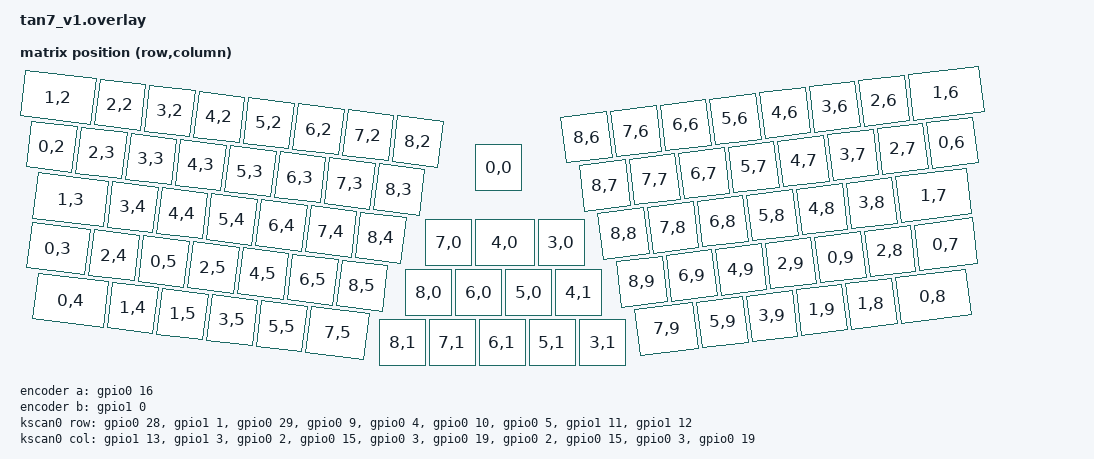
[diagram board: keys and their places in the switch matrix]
#include <zephyr/dt-bindings/dt-util.h>
#include <zephyr/dt-bindings/adc/adc.h>

#include <dt-bindings/zmk/matrix_transform.h>
#include <physical_layouts.dtsi>

#include <dt-bindings/led/led.h> 

&xiao_serial { status = "disabled"; };




/ {
    chosen {
        zmk,kscan = &kscan0;
        zmk,matrix-transform = &matrix_transform0;
        zmk,physical-layout = &physical_layout0;
        zmk,underglow = &led_strip;  // 1. LED制御の対象（アンダーグロー）として登録
        zmk,sensors = <&encoder>;
    };

    // LED電源制御。エンコーダーで使うP1.00をダミーピンとして共有
    ext-power {
        compatible = "zmk,ext-power-generic";
        control-gpios = <&gpio1 7 GPIO_ACTIVE_HIGH>; 
    };

    sensors: sensors {
        compatible = "zmk,keymap-sensors";
        sensors = <&encoder>;
        triggers-per-rotation = <24>; //通常のEC11であれば「24」にするのがおすすめです
    };

    encoder: encoder {
        compatible = "alps,ec11";
        a-gpios = <&gpio0 16 (GPIO_ACTIVE_LOW | GPIO_PULL_UP)>; // P0.16 (内蔵プルアップON)
        b-gpios = <&gpio1  0 (GPIO_ACTIVE_LOW | GPIO_PULL_UP)>; // P1.00 (内蔵プルアップON)
        steps = <80>; // 1クリックで1回しっかり反応させるためのZMK推奨値（通常の15〜24クリック用）
    };

    kscan0: kscan {
        compatible = "zmk,kscan-gpio-matrix";
        diode-direction = "col2row";
        row-gpios
            = <&gpio0 28 (GPIO_ACTIVE_HIGH | GPIO_PULL_DOWN)>   //R0	ROW1 	D2    P0.28
            , <&gpio1  1 (GPIO_ACTIVE_HIGH | GPIO_PULL_DOWN)>   //R1	ROW2 	D13   P1.01
            , <&gpio0 29 (GPIO_ACTIVE_HIGH | GPIO_PULL_DOWN)>   //R2	ROW3 	D3    P0.29
            , <&gpio0  9 (GPIO_ACTIVE_HIGH | GPIO_PULL_DOWN)>   //R3	ROW4 	D14   P0.09
            , <&gpio0  4 (GPIO_ACTIVE_HIGH | GPIO_PULL_DOWN)>   //R4	ROW5 	D4    P0.04
            , <&gpio0 10 (GPIO_ACTIVE_HIGH | GPIO_PULL_DOWN)>   //R5	ROW6 	D15   P0.10
            , <&gpio0  5 (GPIO_ACTIVE_HIGH | GPIO_PULL_DOWN)>   //R6	ROW7 	D5    P0.05
            , <&gpio1 11 (GPIO_ACTIVE_HIGH | GPIO_PULL_DOWN)>   //R7	ROW8 	D6    P1.11
            , <&gpio1 12 (GPIO_ACTIVE_HIGH | GPIO_PULL_DOWN)>   //R9	ROW9 	D7    P1.12
            ;

        col-gpios
            = <&gpio1 13 GPIO_ACTIVE_HIGH>  //L0	COL_C1	D8    P1.13
            , <&gpio1  3 GPIO_ACTIVE_HIGH>  //L1	COL_C2	D17   P1.03
            , <&gpio0  2 GPIO_ACTIVE_HIGH>  //L2	COL_L1	D0    P0.02
            , <&gpio0 15 GPIO_ACTIVE_HIGH>  //L3	COL_L2	D11   P0.15
            , <&gpio0  3 GPIO_ACTIVE_HIGH>  //L4	COL_L3	D1    P0.03
            , <&gpio0 19 GPIO_ACTIVE_HIGH>  //L5	COL_L4	D12   P0.19
            , <&gpio0  2 GPIO_ACTIVE_HIGH>  //L6	COL_R1	D10   P1.15
            , <&gpio0 15 GPIO_ACTIVE_HIGH>  //L7	COL_R2	D19   P1.07
            , <&gpio0  3 GPIO_ACTIVE_HIGH>  //L8	COL_R3	D9    P1.14
            , <&gpio0 19 GPIO_ACTIVE_HIGH>  //L9	COL_R4	D18   P1.05
            ;
    };

    matrix_transform0: matrix_transform_0 {
        compatible = "zmk,matrix-transform";
        columns = <10>;
        rows = <9>;      
        // |  0 |  1 |  2 |  3 |  4 |  5 |  6 |  7 |           |  8 |         | |  9 | 10 | 11 | 12 | 13 | 14 | 15 | 16 | 
        // | 17 | 18 | 19 | 20 | 21 | 22 | 23 | 24 |                          | | 25 | 26 | 27 | 28 | 29 | 30 | 31 | 32 |
        //      | 33 | 34 | 35 | 36 | 37 | 38 | 39 |      | 40 | 41 | 42 |    | | 43 | 44 | 45 | 46 | 47 | 48 | 49 |
        //      | 50 | 51 | 52 | 53 | 54 | 55 | 56 | | 57 | 58 |    | 59 | 60 | | 61 | 62 | 63 | 64 | 65 | 66 | 67 |
        //           | 68 | 69 | 70 | 71 | 72 | 73 | | 74 | 75 | 76 | 77 | 78 | | 79 | 80 | 81 | 82 | 83 | 84 |
        map = <
            RC(1,2) RC(2,2) RC(3,2) RC(4,2) RC(5,2) RC(6,2) RC(7,2) RC(8,2)                 RC(0,0)                 RC(8,6) RC(7,6) RC(6,6) RC(5,6) RC(4,6) RC(3,6) RC(2,6) RC(1,6) 
            RC(0,2) RC(2,3) RC(3,3) RC(4,3) RC(5,3) RC(6,3) RC(7,3) RC(8,3)                                         RC(8,7) RC(7,7) RC(6,7) RC(5,7) RC(4,7) RC(3,7) RC(2,7) RC(0,6) 
                    RC(1,3) RC(3,4) RC(4,4) RC(5,4) RC(6,4) RC(7,4) RC(8,4)         RC(7,0) RC(4,0) RC(3,0)         RC(8,8) RC(7,8) RC(6,8) RC(5,8) RC(4,8) RC(3,8) RC(1,7)
                    RC(0,3) RC(2,4) RC(0,5) RC(2,5) RC(4,5) RC(6,5) RC(8,5) RC(8,0) RC(6,0)         RC(5,0) RC(4,1) RC(8,9) RC(6,9) RC(4,9) RC(2,9) RC(0,9) RC(2,8) RC(0,7) 
                            RC(0,4) RC(1,4) RC(1,5) RC(3,5) RC(5,5) RC(7,5) RC(8,1) RC(7,1) RC(6,1) RC(5,1) RC(3,1) RC(7,9) RC(5,9) RC(3,9) RC(1,9) RC(1,8) RC(0,8)
        >;
    };

    physical_layout0: physical_layout_0 {
        compatible = "zmk,physical-layout";
        display-name = "Default Layout";
        transform = <&matrix_transform0>;
        kscan = <&kscan0>;

        keys  //                     w   h    x    y     rot    rx    ry
            = <&key_physical_attrs 150 100    0    0     700     0     0>
            , <&key_physical_attrs 100 100  150    0     700     0     0>
            , <&key_physical_attrs 100 100  250    0     700     0     0>
            , <&key_physical_attrs 100 100  350    0     700     0     0>
            , <&key_physical_attrs 100 100  450    0     700     0     0>
            , <&key_physical_attrs 100 100  550    0     700     0     0>
            , <&key_physical_attrs 100 100  650    0     700     0     0>
            , <&key_physical_attrs 100 100  750    0     700     0     0>
            , <&key_physical_attrs 100 100  900  150       0     0     0>
            , <&key_physical_attrs 100 100 1050  225  (-700)     0     0>
            , <&key_physical_attrs 100 100 1150  225  (-700)     0     0>
            , <&key_physical_attrs 100 100 1250  225  (-700)     0     0>
            , <&key_physical_attrs 100 100 1350  225  (-700)     0     0>
            , <&key_physical_attrs 100 100 1450  225  (-700)     0     0>
            , <&key_physical_attrs 100 100 1550  225  (-700)     0     0>
            , <&key_physical_attrs 100 100 1650  225  (-700)     0     0>
            , <&key_physical_attrs 150 100 1750  225  (-700)     0     0>
            , <&key_physical_attrs 100 100   25  100     700     0     0>
            , <&key_physical_attrs 100 100  125  100     700     0     0>
            , <&key_physical_attrs 100 100  225  100     700     0     0>
            , <&key_physical_attrs 100 100  325  100     700     0     0>
            , <&key_physical_attrs 100 100  425  100     700     0     0>
            , <&key_physical_attrs 100 100  525  100     700     0     0>
            , <&key_physical_attrs 100 100  625  100     700     0     0>
            , <&key_physical_attrs 100 100  725  100     700     0     0>
            , <&key_physical_attrs 100 100 1075  325  (-700)     0     0>
            , <&key_physical_attrs 100 100 1175  325  (-700)     0     0>
            , <&key_physical_attrs 100 100 1275  325  (-700)     0     0>
            , <&key_physical_attrs 100 100 1375  325  (-700)     0     0>
            , <&key_physical_attrs 100 100 1475  325  (-700)     0     0>
            , <&key_physical_attrs 100 100 1575  325  (-700)     0     0>
            , <&key_physical_attrs 100 100 1675  325  (-700)     0     0>
            , <&key_physical_attrs 100 100 1775  325  (-700)     0     0>
            , <&key_physical_attrs 150 100   50  200     700     0     0>
            , <&key_physical_attrs 100 100  200  200     700     0     0>
            , <&key_physical_attrs 100 100  300  200     700     0     0>
            , <&key_physical_attrs 100 100  400  200     700     0     0>
            , <&key_physical_attrs 100 100  500  200     700     0     0>
            , <&key_physical_attrs 100 100  600  200     700     0     0>
            , <&key_physical_attrs 100 100  700  200     700     0     0>
            , <&key_physical_attrs 100 100  800  300       0     0     0>
            , <&key_physical_attrs 125 100  900  300       0     0     0>
            , <&key_physical_attrs 100 100 1025  300       0     0     0>
            , <&key_physical_attrs 100 100 1100  425  (-700)     0     0>
            , <&key_physical_attrs 100 100 1200  425  (-700)     0     0>
            , <&key_physical_attrs 100 100 1300  425  (-700)     0     0>
            , <&key_physical_attrs 100 100 1400  425  (-700)     0     0>
            , <&key_physical_attrs 100 100 1500  425  (-700)     0     0>
            , <&key_physical_attrs 100 100 1600  425  (-700)     0     0>
            , <&key_physical_attrs 150 100 1700  425  (-700)     0     0>
            , <&key_physical_attrs 125 100   50  300     700     0     0>
            , <&key_physical_attrs 100 100  175  300     700     0     0>
            , <&key_physical_attrs 100 100  275  300     700     0     0>
            , <&key_physical_attrs 100 100  375  300     700     0     0>
            , <&key_physical_attrs 100 100  475  300     700     0     0>
            , <&key_physical_attrs 100 100  575  300     700     0     0>
            , <&key_physical_attrs 100 100  675  300     700     0     0>
            , <&key_physical_attrs 100 100  760  400       0     0     0>
            , <&key_physical_attrs 100 100  860  400       0     0     0>
            , <&key_physical_attrs 100 100  960  400       0     0     0>
            , <&key_physical_attrs 100 100 1060  400       0     0     0>
            , <&key_physical_attrs 100 100 1125  525  (-700)     0     0>
            , <&key_physical_attrs 100 100 1225  525  (-700)     0     0>
            , <&key_physical_attrs 100 100 1325  525  (-700)     0     0>
            , <&key_physical_attrs 100 100 1425  525  (-700)     0     0>
            , <&key_physical_attrs 100 100 1525  525  (-700)     0     0>
            , <&key_physical_attrs 100 100 1625  525  (-700)     0     0>
            , <&key_physical_attrs 125 100 1725  525  (-700)     0     0>
            , <&key_physical_attrs 150 100   75  400     700     0     0>
            , <&key_physical_attrs 100 100  225  400     700     0     0>
            , <&key_physical_attrs 100 100  325  400     700     0     0>
            , <&key_physical_attrs 100 100  425  400     700     0     0>
            , <&key_physical_attrs 100 100  525  400     700     0     0>
            , <&key_physical_attrs 125 100  625  400     700     0     0>
            , <&key_physical_attrs 100 100  708  500       0     0     0>
            , <&key_physical_attrs 100 100  807  500       0     0     0>
            , <&key_physical_attrs 100 100  907  500       0     0     0>
            , <&key_physical_attrs 100 100 1007  500       0     0     0>
            , <&key_physical_attrs 100 100 1108  500       0     0     0>
            , <&key_physical_attrs 125 100 1150  625  (-700)     0     0>
            , <&key_physical_attrs 100 100 1275  625  (-700)     0     0>
            , <&key_physical_attrs 100 100 1375  625  (-700)     0     0>
            , <&key_physical_attrs 100 100 1475  625  (-700)     0     0>
            , <&key_physical_attrs 100 100 1575  625  (-700)     0     0>
            , <&key_physical_attrs 150 100 1675  625  (-700)     0     0>
            ;

        underglow-logical-layout {
            compatible = "zmk,underglow-logical-layout";
            
            // keys = <...> の並び順（40番から順番）に対して、何番目のLED（インデックス）かを対応させます
            // 40番のキー ＝ インデックス2（3番目のLED）
            // 41番のキー ＝ インデックス1（2番目のLED）
            // 42番のキー ＝ インデックス0（1番目のLED）
            // 57番〜60番 ＝ インデックス3, 4, 5, 6
            // (ここで 7, 8 番目のアンダーグローLEDをスキップ！)
            // 74番〜78番 ＝ インデックス13, 12, 11, 10, 9（逆順配線に対応）
            
            led-indices = <
                84  84  84  84  84  84  84  84          84           84  84  84  84  84  84  84  84  
                84  84  84  84  84  84  84  84                       84  84  84  84  84  84  84  84 
                    84  84  84  84  84  84  84       2   1   0       84  84  84  84  84  84  84
                    84  84  84  84  84  84  84   3   4       5   6   84  84  84  84  84  84  84
                        84  84  84  84  84  84  11  10   9   8   7   84  84  84  84  84  84
            >;
        };
    };

    //gpio_ledsの定義
    //ライブラリが探せるように「ニックネーム（エイリアス）」を登録します
    aliases {
        led-red = &led_red_node;
        led-green = &led_green_node;
        led-blue = &led_blue_node;
    };

    //XIAOのLEDピンの定義本体です（名前をエイリアスと紐付けました）
    leds {
        compatible = "gpio-leds";
        led_red_node: led_0 {
            gpios = <&gpio0 26 GPIO_ACTIVE_LOW>;
        };
        led_green_node: led_1 {
            gpios = <&gpio0 30 GPIO_ACTIVE_LOW>;
        };
        led_blue_node: led_2 {
            gpios = <&gpio0 6 GPIO_ACTIVE_LOW>;
        };
    };
};



// &pinctrl のようなアンプサンド（&）が付いた記述は、すでに別のファイルで定義されているノードを「上書き・追加（リファレンス）」するための構文です。
// これは必ずルートノード（/ { ... };）の外に記述しなければなりません。
// 2. P1.10ピンをSPIのデータ出力ピン（MOSI）に指定
&pinctrl {
    spi3_default: spi3_default {
        group1 {
            psels = <NRF_PSEL(SPIM_MOSI, 1, 10)>;
        };
    };
};

// 3. SPI通信を使ってSK6812MINI-Eを制御する設定
&spi3 {
    compatible = "nordic,nrf-spim";
    status = "okay";
    pinctrl-0 = <&spi3_default>;
    pinctrl-names = "default";

    led_strip: ws2812@0 {
        compatible = "worldsemi,ws2812-spi";
        reg = <0>;
        spi-max-frequency = <4000000>;
        chain-length = <12>; // 12個に正しく設定されています
        spi-one-frame = <0x70>;
        spi-zero-frame = <0x40>;
        color-mapping = <LED_COLOR_ID_GREEN LED_COLOR_ID_RED LED_COLOR_ID_BLUE>;
    };
};
&pinctrl {
    spi3_default: spi3_default {
        group1 {
            psels = <NRF_PSEL(SPIM_MOSI, 1, 10)>;
        };
    };
};
